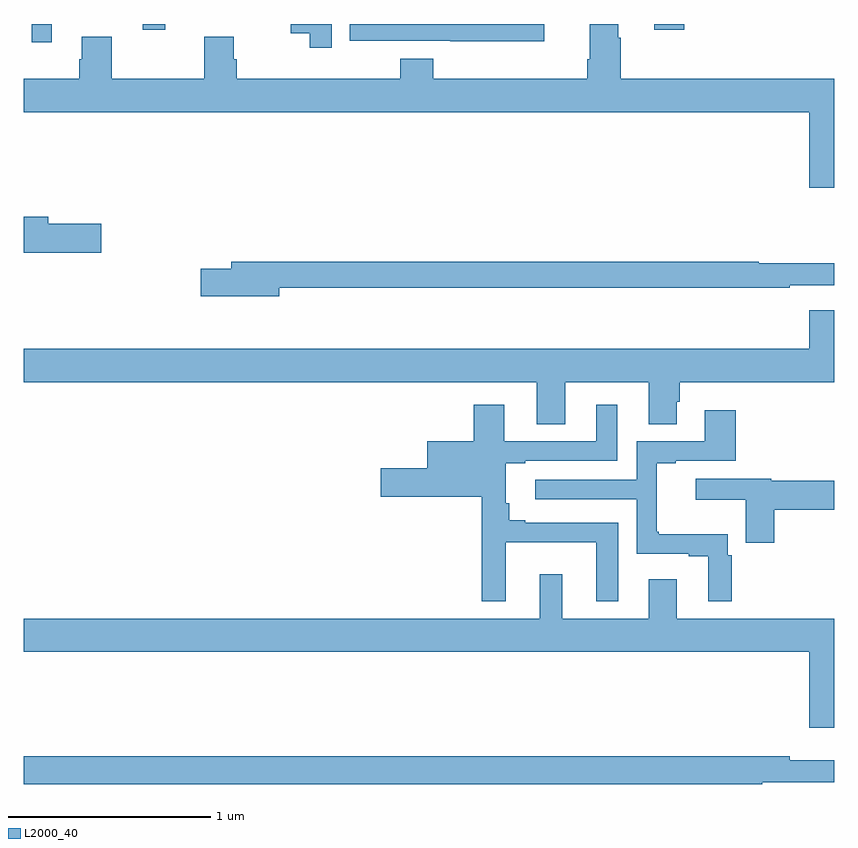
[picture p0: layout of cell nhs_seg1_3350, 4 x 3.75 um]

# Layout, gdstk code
import gdstk
lib = gdstk.Library(unit=1e-6, precision=1e-09)
def R(c, l, rs):  # rectangles x0, y0, x1, y1
    for r in rs: c.add(gdstk.rectangle(r[:2], r[2:], *l))
def P(c, l, *ps):  # polygons
    for p in ps: c.add(gdstk.Polygon(p, *l))
L2000_40 = (2000, 40)

nhs_seg1_3350 = lib.new_cell('nhs_seg1_3350')
R(nhs_seg1_3350, L2000_40, [(293.04,520.11,293.137,520.199), (293.588,520.17,293.699,520.199), (296.111,520.17,296.26,520.199)])
P(nhs_seg1_3350, L2000_40, [(297,519.928),(295.946,519.928),(295.946,520.13),(295.933,520.13),(295.933,520.199),(295.793,520.199),(295.793,520.024),(295.781,520.024),(295.781,519.928),(295.022,519.928),(295.022,520.027),(294.857,520.027),(294.857,519.928),(294.05,519.928),(294.05,520.026),(294.037,520.026),(294.037,520.136),(293.89,520.136),(293.89,519.928),(293.433,519.928),(293.433,520.136),(293.285,520.136),(293.285,520.026),(293.273,520.026),(293.273,519.928),(293,519.928),(293,519.764),(296.876,519.764),(296.876,519.39),(297,519.39)],
  [(295.569,520.199),(294.609,520.199),(294.609,520.116),(295.105,520.116),(295.105,520.115),(295.569,520.115)],
  [(294.519,520.199),(294.318,520.199),(294.318,520.153),(294.411,520.153),(294.411,520.083),(294.519,520.083)],
  [(293.383,519.212),(293.122,519.212),(293.122,519.248),(293,519.248),(293,519.07),(293.383,519.07)],
  [(294.262,518.898),(296.78,518.898),(296.78,518.91),(297,518.91),(297,519.019),(296.627,519.019),(296.627,519.026),(294.023,519.026),(294.023,518.99),(293.874,518.99),(293.874,518.855),(294.262,518.855)],
  [(295.672,518.432),(296.084,518.432),(296.084,518.224),(296.224,518.224),(296.224,518.334),(296.237,518.334),(296.237,518.432),(297,518.432),(297,518.785),(296.876,518.785),(296.876,518.596),(293,518.596),(293,518.432),(295.532,518.432),(295.532,518.224),(295.672,518.224)],
  [(295.378,517.64),(295.826,517.64),(295.826,517.349),(295.933,517.349),(295.933,517.737),(295.474,517.737),(295.474,517.75),(295.396,517.75),(295.396,517.834),(295.378,517.834),(295.378,518.031),(295.474,518.031),(295.474,518.043),(295.93,518.043),(295.93,518.32),(295.826,518.32),(295.826,518.139),(295.372,518.139),(295.372,518.32),(295.22,518.32),(295.22,518.14),(294.992,518.14),(294.992,518.007),(294.762,518.007),(294.762,517.865),(295.26,517.865),(295.26,517.349),(295.378,517.349)],
  [(296.495,517.577),(296.475,517.577),(296.475,517.681),(296.134,517.681),(296.134,517.693),(296.123,517.693),(296.123,518.031),(296.218,518.031),(296.218,518.043),(296.513,518.043),(296.513,518.293),(296.36,518.293),(296.36,518.139),(296.025,518.139),(296.025,517.95),(295.524,517.95),(295.524,517.854),(296.025,517.854),(296.025,517.584),(296.282,517.584),(296.282,517.572),(296.378,517.572),(296.378,517.349),(296.495,517.349)],
  [(296.705,517.802),(297,517.802),(297,517.944),(296.688,517.944),(296.688,517.954),(296.316,517.954),(296.316,517.85),(296.564,517.85),(296.564,517.638),(296.705,517.638)],
  [(297,517.264),(296.224,517.264),(296.224,517.459),(296.084,517.459),(296.084,517.264),(295.657,517.264),(295.657,517.483),(295.547,517.483),(295.547,517.264),(293,517.264),(293,517.1),(296.876,517.1),(296.876,516.726),(297,516.726)],
  [(296.645,516.456),(297,516.456),(297,516.565),(296.78,516.565),(296.78,516.584),(293,516.584),(293,516.448),(296.645,516.448)])

lib.write_gds('nhs_seg1_3350.gds')
